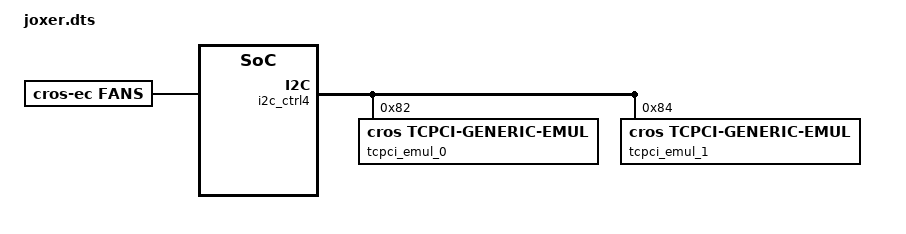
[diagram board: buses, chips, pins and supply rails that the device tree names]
/* Copyright 2023 The ChromiumOS Authors
 * Use of this source code is governed by a BSD-style license that can be
 * found in the LICENSE file.
 */
#include <dt-bindings/pwm/pwm.h>
#include <it8xxx2_emul.dts>
#include "../program/nissa/cbi.dtsi"
#include "../program/nissa/joxer/cbi.dtsi"
#include "../program/nissa/joxer/motionsense.dtsi"

/ {
	named-gpios {
		compatible = "named-gpios";

		gpio_ec_entering_rw: ec_entering_rw {
			gpios = <&gpioc 7 GPIO_OUTPUT>;
			enum-name = "GPIO_ENTERING_RW";
		};
		gpio_en_usb_c0_cc1_vconn: en_usb_c0_cc1_vconn {
			gpios = <&gpioh 4 GPIO_OUTPUT>;
		};
		gpio_en_usb_c0_cc2_vconn: en_usb_c0_cc2_vconn {
			gpios = <&gpioh 6 GPIO_OUTPUT>;
		};
		gpio_usb_c0_int_odl: usb_c0_int_odl {
			gpios = <&gpiok 0 GPIO_INPUT_PULL_UP>;
		};
		gpio_usb_c1_int_odl: usb_c1_int_odl {
			gpios = <&gpioe 6 GPIO_INPUT_PULL_UP>;
		};
		gpio_fan_enable: fan-enable {
			gpios = <&gpiol 4 GPIO_OUTPUT>;
			no-auto-init;
		};
		gpio_imu_int_l: imu_int_l {
			gpios = <&gpioj 0 GPIO_INPUT>;
		};
		gpio_acc_int_l: acc_int_l {
			gpios = <&gpioc 0 GPIO_INPUT>;
		};
		gpio_ec_edp_bl_en_od: ec_edp_bl_en_od {
			gpios = <&gpiok 4 GPIO_ODR_HIGH>;
			enum-name = "GPIO_ENABLE_BACKLIGHT";
		};
		gpio_lid_open: lid_open {
			gpios = <&gpiof 3 GPIO_INPUT>;
			enum-name = "GPIO_LID_OPEN";
		};
	};

	gpio-interrupts {
		compatible = "cros-ec,gpio-interrupts";

		int_imu: ec_imu {
			irq-pin = <&gpio_imu_int_l>;
			flags = <GPIO_INT_EDGE_FALLING>;
			handler = "bmi3xx_interrupt";
		};
		int_lid_accel: ec_lid_accel {
			irq-pin = <&gpio_acc_int_l>;
			flags = <GPIO_INT_EDGE_FALLING>;
			handler = "bma4xx_interrupt";
		};
		int_usb_c0: usb_c0 {
			irq-pin = <&gpio_usb_c0_int_odl>;
			flags = <GPIO_INT_EDGE_FALLING>;
			handler = "usb_c0_interrupt";
		};
		int_usb_c1: usb_c1 {
			irq-pin = <&gpio_usb_c1_int_odl>;
			flags = <GPIO_INT_EDGE_FALLING>;
			handler = "usb_c1_interrupt";
		};
		int_lid_open: lid_open {
			irq-pin = <&gpio_lid_open>;
			flags = <GPIO_INT_EDGE_BOTH>;
			handler = "lid_interrupt";
		};
	};

	named-i2c-ports {
		compatible = "named-i2c-ports";

		i2c_ec_i2c_batt: ec_i2c_batt {
			i2c-port = <&i2c_ctrl0>;
			enum-names = "I2C_PORT_BATTERY";
		};
		i2c_ec_i2c_sensor: ec_i2c_sensor {
			i2c-port = <&i2c_ctrl2>;
			enum-names = "I2C_PORT_SENSOR";
		};
	};

	usbc {
		#address-cells = <1>;
		#size-cells = <0>;
		port0@0 {
			compatible = "named-usbc-port";
			reg = <0>;
			tcpc = <&tcpci_emul_0>;
			usb-mux-chain-0 {
				compatible = "cros-ec,usb-mux-chain";
				usb-muxes = <&virtual_mux_0>;
			};
		};
		port1@1 {
			compatible = "named-usbc-port";
			reg = <1>;
			tcpc = <&tcpci_emul_1>;
			usb-mux-chain-1 {
				compatible = "cros-ec,usb-mux-chain";
				usb-muxes = <&virtual_mux_1>;
			};
			usb_mux_chain_1_no_mux: usb-mux-chain-1-no-mux {
				compatible = "cros-ec,usb-mux-chain";
				alternative-chain;
				usb-muxes = <&virtual_mux_1>;
			};
		};
		port0-muxes {
			virtual_mux_0: virtual-mux-0 {
				compatible = "cros-ec,usbc-mux-virtual";
			};
		};
		port1-muxes {
			virtual_mux_1: virtual-mux-1 {
				compatible = "cros-ec,usbc-mux-virtual";
			};
		};
	};

	fans {
		compatible = "cros-ec,fans";

		fan0: fan_0 {
			pwms = <&pwm_fan 0 PWM_KHZ(25) PWM_POLARITY_NORMAL>;
			rpm_min = <3100>;
			rpm_start = <3100>;
			rpm_max = <8000>;
			tach = <&tach1>;
			pgood_gpio = <&gpio_fan_enable>;
		};
	};
	pwms {
		#address-cells = <1>;
		#size-cells = <1>;

		pwm_fan: pwm@6 {
			compatible = "cros,pwm-mock";
			reg = <6 2>;
			#pwm-cells = <3>;
			status = "okay";
		};
	};
	tachs {
		#address-cells = <1>;
		#size-cells = <1>;

		tach0: tach@0 {
			compatible = "cros,tach-mock";
			reg = <0 1>;
			#tach-cells = <3>;
			status = "okay";
		};
		tach1: tach@1 {
			compatible = "cros,tach-mock";
			reg = <1 1>;
			#tach-cells = <3>;
			status = "okay";
		};
	};
};

&i2c_ctrl4 {
	tcpci_emul_0: tcpci_emul@82 {
		compatible = "cros,tcpci-generic-emul";
		status = "okay";
		reg = <0x82>;
	};
};

&i2c_ctrl4 {
	tcpci_emul_1: tcpci_emul@84 {
		compatible = "cros,tcpci-generic-emul";
		status = "okay";
		reg = <0x84>;
	};
};
